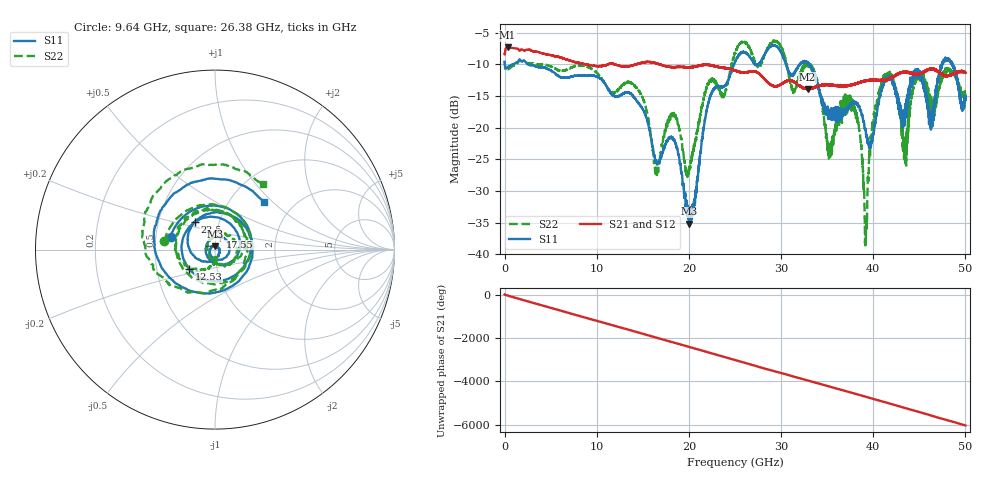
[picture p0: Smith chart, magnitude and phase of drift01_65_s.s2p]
!Created with skrf (http://scikit-rf.org).
# Hz S RI R 50.0
!freq ReS11 ImS11 ReS21 ImS21 ReS12 ImS12 ReS22 ImS22
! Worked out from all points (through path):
!   10001 points, 300 kHz to 50 GHz, reference 50 ohm
!   highest |S21| = -7.33 dB at 325.3 MHz (marker M1); lowest = -13.9 dB at 32.87 GHz (marker M2)
!   group delay of S21, straight-line fit = 335 ps
!   lowest |S11| = -35.2 dB at 20.01 GHz (marker M3), VSWR 1.04, Z = 49.9 + j1.74 ohm
!   |S11| at or under -10 dB: 2.566 GHz to 24.9 GHz (22.33 GHz wide, 163 % of centre); 30.53 GHz to 32.02 GHz (1.486 GHz wide, 4.75 % of centre); 33.07 GHz to 47.44 GHz (14.37 GHz wide, 35.7 % of centre) (the widest 3 of 21)
!   |S22| runs from -38.7 to -6.2 dB; largest |S21 - S12| = 0.0098
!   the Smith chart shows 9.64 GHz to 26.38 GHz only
!   S11 on the Smith chart (normalised r, x): 9.64 GHz: 0.60, +0.09; 12.53 GHz: 0.73, -0.16; 17.55 GHz: 1.04, +0.15; 22.5 GHz: 0.76, +0.24; 26.38 GHz: 1.42, +0.89
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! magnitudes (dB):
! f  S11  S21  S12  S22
! 300 kHz  -9.6  -8.4  -8.5  -9.5
! 325.3 MHz  -10.5  -7.3  -7.3  -10.8
! 8.335 GHz  -11.8  -9.8  -9.8  -10.2
! 9.64 GHz  -11.8  -10.2  -10.2  -10.9
! 12.53 GHz  -14.9  -10.2  -10.3  -13.7
! 16.67 GHz  -25.7  -9.9  -9.9  -26.9
! 17.55 GHz  -22.3  -10.3  -10.3  -19.6
! 20.01 GHz  -35.2  -10.5  -10.5  -26.4
! 22.5 GHz  -14.4  -10.2  -10.2  -12.6
! 25 GHz  -9.6  -11.0  -11.0  -8.2
! 26.38 GHz  -8.4  -11.3  -11.2  -6.9
! 32.87 GHz  -9.8  -13.9  -13.9  -9.7
! 33.34 GHz  -10.7  -13.8  -13.8  -10.6
! 35.27 GHz  -18.0  -13.2  -13.2  -23.0
! 37.97 GHz  -16.0  -13.2  -13.1  -17.5
! 39.18 GHz  -20.5  -12.6  -12.6  -38.2
! 40.11 GHz  -20.1  -12.5  -12.5  -17.7
! 41.67 GHz  -11.8  -12.3  -12.3  -12.0
! 43.45 GHz  -17.8  -11.3  -11.3  -24.1
! 44.84 GHz  -11.0  -11.5  -11.6  -12.2
! 46.25 GHz  -19.4  -10.7  -10.8  -15.8
! 50 GHz  -15.3  -11.4  -11.3  -15.2
